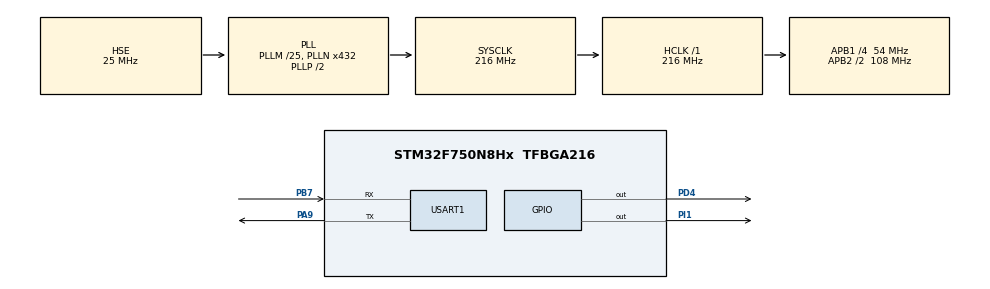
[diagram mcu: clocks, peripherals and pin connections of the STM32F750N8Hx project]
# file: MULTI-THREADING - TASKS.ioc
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FREERTOS.Tasks01=defaultTask,24,128,StartDefaultTask,Default,NULL,Dynamic,NULL,NULL
Mcu.Family=STM32F7
Mcu.Name=STM32F750N8Hx
Mcu.Package=TFBGA216
NVIC.PriorityGroup=NVIC_PRIORITYGROUP_4
NVIC.TIM1_UP_TIM10_IRQn=true\:15\:0\:false\:false\:true\:false\:false\:true
NVIC.TimeBase=TIM1_UP_TIM10_IRQn
NVIC.TimeBaseIP=TIM1
PA9.Mode=Asynchronous
PA9.Signal=USART1_TX
PB7.Mode=Asynchronous
PB7.Signal=USART1_RX
PD4.Signal=GPIO_Output
PH0/OSC_IN.Mode=HSE-External-Oscillator
PH0/OSC_IN.Signal=RCC_OSC_IN
PH1/OSC_OUT.Mode=HSE-External-Oscillator
PH1/OSC_OUT.Signal=RCC_OSC_OUT
PI1.Signal=GPIO_Output
ProjectManager.HeapSize=0x200
ProjectManager.StackSize=0x400
ProjectManager.TargetToolchain=EWARM V8.32
RCC.AHBFreq_Value=216000000
RCC.APB1CLKDivider=RCC_HCLK_DIV4
RCC.APB1Freq_Value=54000000
RCC.APB1TimFreq_Value=108000000
RCC.APB2CLKDivider=RCC_HCLK_DIV2
RCC.APB2Freq_Value=108000000
RCC.APB2TimFreq_Value=216000000
RCC.CortexFreq_Value=216000000
RCC.HCLKFreq_Value=216000000
RCC.HSE_VALUE=25000000
RCC.HSI_VALUE=16000000
RCC.PLL48CLockSelection=RCC_CLK48SOURCE_PLLSAIP
RCC.PLLI2SN=100
RCC.PLLM=25
RCC.PLLN=432
RCC.PLLQ=9
RCC.PLLSAIN=384
RCC.PLLSAIP=RCC_PLLSAIP_DIV8
RCC.PLLSAIR=5
RCC.PLLSourceVirtual=RCC_PLLSOURCE_HSE
RCC.SDMMCClockSelection=RCC_SDMMC1CLKSOURCE_CLK48
RCC.SYSCLKFreq_VALUE=216000000
RCC.SYSCLKSource=RCC_SYSCLKSOURCE_PLLCLK
RCC.USBFreq_Value=48000000
RCC.VCOOutputFreq_Value=432000000
USART1.VirtualMode-Asynchronous=VM_ASYNC
VP_FREERTOS_VS_CMSIS_V2.Mode=CMSIS_V2
VP_SYS_VS_tim1.Mode=TIM1
board=STM32F7508-DK

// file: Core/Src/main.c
/* USER CODE BEGIN Header */
/**
  ******************************************************************************
  * @file           : main.c
  * @brief          : Main program body
  ******************************************************************************
  * @attention
  *
  * Copyright (c) 2025 STMicroelectronics.
  * All rights reserved.
  *
  * This software is licensed under terms that can be found in the LICENSE file
  * in the root directory of this software component.
  * If no LICENSE file comes with this software, it is provided AS-IS.
  *
  ******************************************************************************
  */
/* USER CODE END Header */
#include "main.h"
#include "cmsis_os.h"
#include "FreeRTOS.h"
#include "task.h"

UART_HandleTypeDef huart1;

/* Definitions for defaultTask */
osThreadId_t defaultTaskHandle;
const osThreadAttr_t defaultTask_attributes = {
  .name = "defaultTask",
  .stack_size = 128 * 4,
  .priority = (osPriority_t) osPriorityNormal,
};

void SystemClock_Config(void);
static void MX_GPIO_Init(void);
static void MX_USART1_UART_Init(void);
void StartDefaultTask(void *argument);

/* USER CODE BEGIN 0 */
/* Task1: LED1 ON for 1s */
// Shared flag
// Task handles
TaskHandle_t Task1Handle = NULL;
TaskHandle_t Task2Handle = NULL;
TaskHandle_t Task3Handle = NULL;
TaskHandle_t Task4Handle = NULL;

// Safe UART print function (no printf, no strlen)
void UART_Print(const char *msg, uint16_t len)
{
    HAL_UART_Transmit(&huart1, (uint8_t*)msg, len, HAL_MAX_DELAY);
}

// Task functions
void Task1(void *pvParameters)
{
    while(1)
    {
        UART_Print("Task1 Running\r\n", 14);
        vTaskDelay(pdMS_TO_TICKS(1000));

        // Resume Task2 and suspend self
        vTaskResume(Task2Handle);
        vTaskSuspend(NULL);
    }
}

void Task2(void *pvParameters)
{
    // Start suspended
    vTaskSuspend(NULL);

    while(1)
    {
        UART_Print("Task2 Running\r\n", 14);
        vTaskDelay(pdMS_TO_TICKS(1000));

        vTaskResume(Task3Handle);
        vTaskSuspend(NULL);
    }
}

void Task3(void *pvParameters)
{
    // Start suspended
    vTaskSuspend(NULL);

    while(1)
    {
        UART_Print("Task3 Running\r\n", 14);
        vTaskDelay(pdMS_TO_TICKS(1000));

        vTaskResume(Task4Handle);
        vTaskSuspend(NULL);
    }
}

void Task4(void *pvParameters)
{
    // Start suspended
    vTaskSuspend(NULL);

    while(1)
    {
        UART_Print("Task4 Running\r\n", 14);
        vTaskDelay(pdMS_TO_TICKS(1000));

        // Delete Task1
        vTaskDelete(Task1Handle);
        UART_Print("Task1 Deleted\r\n", 15);

        // Delete self
        vTaskDelete(NULL);
    }
}

/* USER CODE END 0 */

int main(void)
{

  /* MCU Configuration--------------------------------------------------------*/

  /* Reset of all peripherals, Initializes the Flash interface and the Systick. */
  HAL_Init();

  /* Configure the system clock */
  SystemClock_Config();

  /* Initialize all configured peripherals */
  MX_GPIO_Init();
  MX_USART1_UART_Init();

  /* Init scheduler */
 // osKernelInitialize();

  // Create tasks
    xTaskCreate(Task1, "Task1", 256, NULL, 1, &Task1Handle);
    xTaskCreate(Task2, "Task2", 256, NULL, 1, &Task2Handle);
    xTaskCreate(Task3, "Task3", 256, NULL, 1, &Task3Handle);
    xTaskCreate(Task4, "Task4", 256, NULL, 1, &Task4Handle);

    /* Start FreeRTOS scheduler */
    vTaskStartScheduler();

  /* Start scheduler */
//  osKernelStart();

  /* We should never get here as control is now taken by the scheduler */
  /* Infinite loop */
  while (1)
  {

  }
}

void SystemClock_Config(void)
{
  RCC_OscInitTypeDef RCC_OscInitStruct = {0};
  RCC_ClkInitTypeDef RCC_ClkInitStruct = {0};

  /** Configure the main internal regulator output voltage
  */
  __HAL_RCC_PWR_CLK_ENABLE();
  __HAL_PWR_VOLTAGESCALING_CONFIG(PWR_REGULATOR_VOLTAGE_SCALE1);
  /** Initializes the RCC Oscillators according to the specified parameters
  * in the RCC_OscInitTypeDef structure.
  */
  RCC_OscInitStruct.OscillatorType = RCC_OSCILLATORTYPE_HSE;
  RCC_OscInitStruct.HSEState = RCC_HSE_ON;
  RCC_OscInitStruct.PLL.PLLState = RCC_PLL_ON;
  RCC_OscInitStruct.PLL.PLLSource = RCC_PLLSOURCE_HSE;
  RCC_OscInitStruct.PLL.PLLM = 25;
  RCC_OscInitStruct.PLL.PLLN = 432;
  RCC_OscInitStruct.PLL.PLLP = RCC_PLLP_DIV2;
  RCC_OscInitStruct.PLL.PLLQ = 9;
  if (HAL_RCC_OscConfig(&RCC_OscInitStruct) != HAL_OK)
  {
    Error_Handler();
  }
  /** Activate the Over-Drive mode
  */
  if (HAL_PWREx_EnableOverDrive() != HAL_OK)
  {
    Error_Handler();
  }
  /** Initializes the CPU, AHB and APB buses clocks
  */
  RCC_ClkInitStruct.ClockType = RCC_CLOCKTYPE_HCLK|RCC_CLOCKTYPE_SYSCLK
                              |RCC_CLOCKTYPE_PCLK1|RCC_CLOCKTYPE_PCLK2;
  RCC_ClkInitStruct.SYSCLKSource = RCC_SYSCLKSOURCE_PLLCLK;
  RCC_ClkInitStruct.AHBCLKDivider = RCC_SYSCLK_DIV1;
  RCC_ClkInitStruct.APB1CLKDivider = RCC_HCLK_DIV4;
  RCC_ClkInitStruct.APB2CLKDivider = RCC_HCLK_DIV2;

  if (HAL_RCC_ClockConfig(&RCC_ClkInitStruct, FLASH_LATENCY_7) != HAL_OK)
  {
    Error_Handler();
  }
}

static void MX_USART1_UART_Init(void)
{

  huart1.Instance = USART1;
  huart1.Init.BaudRate = 115200;
  huart1.Init.WordLength = UART_WORDLENGTH_8B;
  huart1.Init.StopBits = UART_STOPBITS_1;
  huart1.Init.Parity = UART_PARITY_NONE;
  huart1.Init.Mode = UART_MODE_TX_RX;
  huart1.Init.HwFlowCtl = UART_HWCONTROL_NONE;
  huart1.Init.OverSampling = UART_OVERSAMPLING_16;
  huart1.Init.OneBitSampling = UART_ONE_BIT_SAMPLE_DISABLE;
  huart1.AdvancedInit.AdvFeatureInit = UART_ADVFEATURE_NO_INIT;
  if (HAL_UART_Init(&huart1) != HAL_OK)
  {
    Error_Handler();
  }

}

static void MX_GPIO_Init(void)
{
  GPIO_InitTypeDef GPIO_InitStruct = {0};

  /* GPIO Ports Clock Enable */
  __HAL_RCC_GPIOB_CLK_ENABLE();
  __HAL_RCC_GPIOD_CLK_ENABLE();
  __HAL_RCC_GPIOI_CLK_ENABLE();
  __HAL_RCC_GPIOA_CLK_ENABLE();
  __HAL_RCC_GPIOH_CLK_ENABLE();

  /*Configure GPIO pin Output Level */
  HAL_GPIO_WritePin(GPIOD, GPIO_PIN_4, GPIO_PIN_RESET);

  /*Configure GPIO pin Output Level */
  HAL_GPIO_WritePin(GPIOI, GPIO_PIN_1, GPIO_PIN_RESET);

  /*Configure GPIO pin : PD4 */
  GPIO_InitStruct.Pin = GPIO_PIN_4;
  GPIO_InitStruct.Mode = GPIO_MODE_OUTPUT_PP;
  GPIO_InitStruct.Pull = GPIO_NOPULL;
  GPIO_InitStruct.Speed = GPIO_SPEED_FREQ_LOW;
  HAL_GPIO_Init(GPIOD, &GPIO_InitStruct);

  /*Configure GPIO pin : PI1 */
  GPIO_InitStruct.Pin = GPIO_PIN_1;
  GPIO_InitStruct.Mode = GPIO_MODE_OUTPUT_PP;
  GPIO_InitStruct.Pull = GPIO_NOPULL;
  GPIO_InitStruct.Speed = GPIO_SPEED_FREQ_LOW;
  HAL_GPIO_Init(GPIOI, &GPIO_InitStruct);

}

void StartDefaultTask(void *argument)
{
  for(;;)
  {
    osDelay(1);
  }
}

void HAL_TIM_PeriodElapsedCallback(TIM_HandleTypeDef *htim)
{
  if (htim->Instance == TIM1) {
    HAL_IncTick();
  }
}

void Error_Handler(void)
{
  __disable_irq();
  while (1)
  {
  }
}
